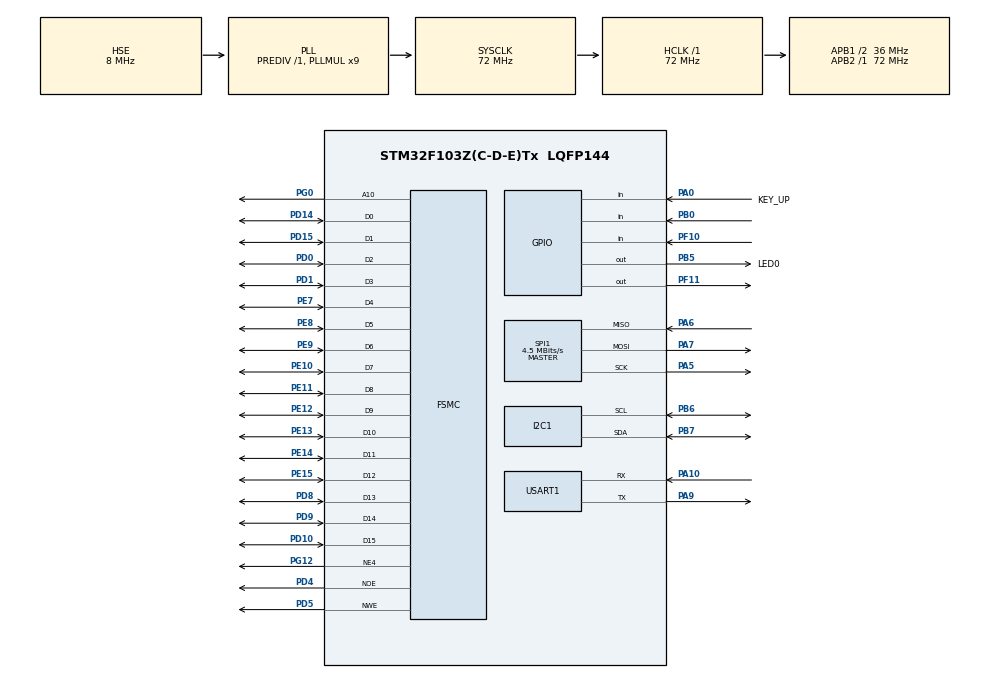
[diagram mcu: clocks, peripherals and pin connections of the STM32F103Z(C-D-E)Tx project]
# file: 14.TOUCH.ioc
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Mcu.Family=STM32F1
FSMC.AddressSetupTime4=0
PA6.Mode=Full_Duplex_Master
SH.FSMC_D1_DA1.0=FSMC_D1,16b-d4
SPI1.VirtualType=VM_MASTER
SH.FSMC_NWE.0=FSMC_NWE,Lcd4
PG0.Signal=FSMC_A10
SH.FSMC_D0_DA0.0=FSMC_D0,16b-d4
RCC.SYSCLKSource=RCC_SYSCLKSOURCE_PLLCLK
ProjectManager.StackSize=0x400
SPI1.Direction=SPI_DIRECTION_2LINES
RCC.HCLKFreq_Value=72000000
PD4.Signal=FSMC_NOE
RCC.APB2TimFreq_Value=72000000
PB6.Signal=I2C1_SCL
PB5.PinState=GPIO_PIN_SET
PB6.Mode=I2C
SPI1.CalculateBaudRate=4.5 MBits/s
PD0.Signal=FSMC_D2_DA2
PD8.Signal=FSMC_D13_DA13
OSC_OUT.Mode=HSE-External-Oscillator
SH.FSMC_A10.0=FSMC_A10,A10_4
OSC_OUT.Signal=RCC_OSC_OUT
RCC.AHBFreq_Value=72000000
RCC.PLLMUL=RCC_PLL_MUL9
PE13.Signal=FSMC_D10_DA10
SH.FSMC_D14_DA14.0=FSMC_D14,16b-d4
SH.FSMC_D10_DA10.0=FSMC_D10,16b-d4
PE9.Signal=FSMC_D6_DA6
PA14.Mode=Serial_Wire
PF11.Signal=GPIO_Output
SH.FSMC_D6_DA6.0=FSMC_D6,16b-d4
PB7.Signal=I2C1_SDA
PE10.Signal=FSMC_D7_DA7
SH.FSMC_D5_DA5.0=FSMC_D5,16b-d4
SH.FSMC_D4_DA4.0=FSMC_D4,16b-d4
Mcu.Package=LQFP144
PA6.Signal=SPI1_MISO
SH.FSMC_D13_DA13.0=FSMC_D13,16b-d4
PA10.Signal=USART1_RX
PB5.GPIO_Speed=GPIO_SPEED_FREQ_HIGH
PB5.GPIO_Label=LED0
SH.FSMC_D3_DA3.0=FSMC_D3,16b-d4
RCC.APB1TimFreq_Value=72000000
SH.FSMC_D2_DA2.0=FSMC_D2,16b-d4
PE7.Signal=FSMC_D4_DA4
NVIC.USART1_IRQn=true\:0\:0\:false\:false\:true\:true\:true
SPI1.BaudRatePrescaler=SPI_BAUDRATEPRESCALER_16
PD15.Signal=FSMC_D1_DA1
PA5.Mode=Full_Duplex_Master
PG12.Signal=FSMC_NE4
RCC.PLLSourceVirtual=RCC_PLLSOURCE_HSE
SH.FSMC_D12_DA12.0=FSMC_D12,16b-d4
FSMC.ExtendedAddressSetupTime4=1
PA7.Mode=Full_Duplex_Master
PA10.Mode=Asynchronous
FSMC.ExtendedMode4=FSMC_EXTENDED_MODE_ENABLE
PD1.Signal=FSMC_D3_DA3
SH.FSMC_D9_DA9.0=FSMC_D9,16b-d4
PD9.Signal=FSMC_D14_DA14
PD5.Signal=FSMC_NWE
RCC.APB1CLKDivider=RCC_HCLK_DIV2
PA0-WKUP.GPIO_Label=KEY_UP
PA0-WKUP.Signal=GPIO_Input
SH.FSMC_D8_DA8.0=FSMC_D8,16b-d4
PD10.Signal=FSMC_D15_DA15
PA13.Signal=SYS_JTMS-SWDIO
PA9.Mode=Asynchronous
FSMC.DataSetupTime4=3
ProjectManager.TargetToolchain=STM32CubeIDE
PA9.Signal=USART1_TX
OSC_IN.Signal=RCC_OSC_IN
RCC.USBFreq_Value=72000000
PE11.Signal=FSMC_D8_DA8
FSMC.ExtendedDataSetupTime4=5
PA5.Signal=SPI1_SCK
SH.FSMC_D7_DA7.0=FSMC_D7,16b-d4
board=custom
PG12.Mode=NorPsramChipSelect4_4
RCC.APB2Freq_Value=72000000
PE14.Signal=FSMC_D11_DA11
PE15.Signal=FSMC_D12_DA12
PE8.Signal=FSMC_D5_DA5
SPI1.Mode=SPI_MODE_MASTER
PF10.Signal=GPIO_Input
PA13.Mode=Serial_Wire
Mcu.Name=STM32F103Z(C-D-E)Tx
PE12.Signal=FSMC_D9_DA9
PD14.Signal=FSMC_D0_DA0
RCC.SYSCLKFreq_VALUE=72000000
PB5.Signal=GPIO_Output
OSC_IN.Mode=HSE-External-Oscillator
PB5.GPIO_PuPd=GPIO_PULLUP
USART1.VirtualMode=VM_ASYNC
PB7.Mode=I2C
SH.FSMC_D15_DA15.0=FSMC_D15,16b-d4
PA14.Signal=SYS_JTCK-SWCLK
ProjectManager.HeapSize=0x200
SH.FSMC_D11_DA11.0=FSMC_D11,16b-d4
SH.FSMC_NOE.0=FSMC_NOE,Lcd4
NVIC.PriorityGroup=NVIC_PRIORITYGROUP_4
PA0-WKUP.GPIO_PuPd=GPIO_PULLDOWN
RCC.APB1Freq_Value=36000000
PB0.Signal=GPIO_Input
PA7.Signal=SPI1_MOSI

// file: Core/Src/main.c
/* USER CODE BEGIN Header */
/**
 ******************************************************************************
 * @file           : main.c
 * @brief          : Main program body
 ******************************************************************************
 * @attention
 *
 * <h2><center>&copy; Copyright (c) 2021 STMicroelectronics.
 * All rights reserved.</center></h2>
 *
 * This software component is licensed by ST under BSD 3-Clause license,
 * the "License"; You may not use this file except in compliance with the
 * License. You may obtain a copy of the License at:
 *                        opensource.org/licenses/BSD-3-Clause
 *
 ******************************************************************************
 */
/* USER CODE END Header */
#include "main.h"
#include "i2c.h"
#include "spi.h"
#include "usart.h"
#include "gpio.h"
#include "fsmc.h"

/* USER CODE BEGIN Includes */
#include "24cxx.h"
#include "myiic.h"
#include "stdio.h"
#include "key.h"
#include "touch.h"
#include "lcd.h"
/* USER CODE END Includes */

void SystemClock_Config(void);

/* USER CODE BEGIN 0 */
void kai_display()  //������ʾ
{
	POINT_COLOR = BLACK;
	LCD_ShowString(10, 10, lcddev.width, lcddev.height, 16,
			(uint8_t*) "Touch Test");
	LCD_ShowString(10, 30, lcddev.width, lcddev.height, 16,
			(uint8_t*) "www.prechin.net");
	LCD_ShowString(10, 50, lcddev.width, lcddev.height, 16,
			(uint8_t*) "K_UP:Adjust");
}

void display_init()  //��ʼ����ʾ
{
	printf("初始化完成。。。。");
	POINT_COLOR = RED;
	LCD_ShowString(lcddev.width - 8 * 4, 0, lcddev.width, lcddev.height, 16,
			(uint8_t*) "RST");
	LCD_Fill(120, lcddev.height - 16, 139, lcddev.height, BLUE);
	LCD_Fill(140, lcddev.height - 16, 159, lcddev.height, RED);
	LCD_Fill(160, lcddev.height - 16, 179, lcddev.height, MAGENTA);
	LCD_Fill(180, lcddev.height - 16, 199, lcddev.height, GREEN);
	LCD_Fill(200, lcddev.height - 16, 219, lcddev.height, CYAN);
	LCD_Fill(220, lcddev.height - 16, 239, lcddev.height, YELLOW);
}
/* USER CODE END 0 */

int main(void) {

	/* MCU Configuration--------------------------------------------------------*/

	/* Reset of all peripherals, Initializes the Flash interface and the Systick. */
	HAL_Init();

	/* Configure the system clock */
	SystemClock_Config();

	/* Initialize all configured peripherals */
	MX_GPIO_Init();
	MX_FSMC_Init();
	MX_SPI1_Init();
	MX_USART1_UART_Init();
	MX_I2C1_Init();
	/* USER CODE BEGIN 2 */
	LCD_Init();
	AT24CXX_Init();
	kai_display();
	HAL_Delay(2000);
	LCD_Clear(WHITE);
	TOUCH_Init();
	display_init();
	/* USER CODE END 2 */

	/* Infinite loop */
	while (1) {

		/* USER CODE BEGIN 3 */
		TOUCH_Scan();

		if ((TouchData.lcdx > lcddev.width - 8 * 8) && (TouchData.lcdy < 16)) //215 = TFT_XMAX - 24
				{
			LCD_Fill(0, 0, lcddev.width, lcddev.height - 16,
			WHITE);
			LCD_ShowString(lcddev.width - 8 * 8, 0, lcddev.width, lcddev.height,
					16, (uint8_t*) "RST");

		}

	}
	/* USER CODE END 3 */
}

void SystemClock_Config(void) {
	RCC_OscInitTypeDef RCC_OscInitStruct = { 0 };
	RCC_ClkInitTypeDef RCC_ClkInitStruct = { 0 };

	/** Initializes the RCC Oscillators according to the specified parameters
	 * in the RCC_OscInitTypeDef structure.
	 */
	RCC_OscInitStruct.OscillatorType = RCC_OSCILLATORTYPE_HSE;
	RCC_OscInitStruct.HSEState = RCC_HSE_ON;
	RCC_OscInitStruct.HSEPredivValue = RCC_HSE_PREDIV_DIV1;
	RCC_OscInitStruct.HSIState = RCC_HSI_ON;
	RCC_OscInitStruct.PLL.PLLState = RCC_PLL_ON;
	RCC_OscInitStruct.PLL.PLLSource = RCC_PLLSOURCE_HSE;
	RCC_OscInitStruct.PLL.PLLMUL = RCC_PLL_MUL9;
	if (HAL_RCC_OscConfig(&RCC_OscInitStruct) != HAL_OK) {
		Error_Handler();
	}
	/** Initializes the CPU, AHB and APB buses clocks
	 */
	RCC_ClkInitStruct.ClockType = RCC_CLOCKTYPE_HCLK | RCC_CLOCKTYPE_SYSCLK
			| RCC_CLOCKTYPE_PCLK1 | RCC_CLOCKTYPE_PCLK2;
	RCC_ClkInitStruct.SYSCLKSource = RCC_SYSCLKSOURCE_PLLCLK;
	RCC_ClkInitStruct.AHBCLKDivider = RCC_SYSCLK_DIV1;
	RCC_ClkInitStruct.APB1CLKDivider = RCC_HCLK_DIV2;
	RCC_ClkInitStruct.APB2CLKDivider = RCC_HCLK_DIV1;

	if (HAL_RCC_ClockConfig(&RCC_ClkInitStruct, FLASH_LATENCY_2) != HAL_OK) {
		Error_Handler();
	}
}

/* USER CODE BEGIN 4 */
// 须在头文件中添加 #include <stdio.h>
//////////////////////////////////////////////////////////////////
// 加入以下代码,支持printf函数,而不需要选择use MicroLIB
// MDK中同样定义了 __GNUC__，使用__ARMCC_VERSION 或  __CC_ARM 区分MDK和STM32CubeIDE
// MDK预定义宏，详见 ：https://www.keil.com/support/man/docs/armcc/armcc_chr1359125007083.htm
#ifdef __CC_ARM // 或 #ifdef __ARMCC_VERSION
  #define PUTCHAR_PROTOTYPE int fputc(int ch, FILE *f)
#else
#define PUTCHAR_PROTOTYPE int __io_putchar(int ch)
#endif
#if 1

FILE __stdout;
//定义_sys_exit()以避免使用半主机模式
void _sys_exit(int x) {
	x = x;
}
//重定义fputc函数
PUTCHAR_PROTOTYPE {
	// 具体哪个串口可以更改huart2为其它串口
	// HAL_UART_Transmit(&huart2, (uint8_t *)&ch, 1 , 0xffff);
	while ((USART1->SR & 0X40) == 0) {
	}; //循环发送,直到发送完毕
	USART1->DR = (uint8_t) ch;

//  while ((USART2->SR & 0X40) == 0) {
//  }; //循环发送,直到发送完毕
//  USART2->DR = (uint8_t) ch;

	return ch;
}
#endif

/* USER CODE END 4 */

void Error_Handler(void) {
	__disable_irq();
	while (1) {
	}
}

/************************ (C) COPYRIGHT STMicroelectronics *****END OF FILE****/
